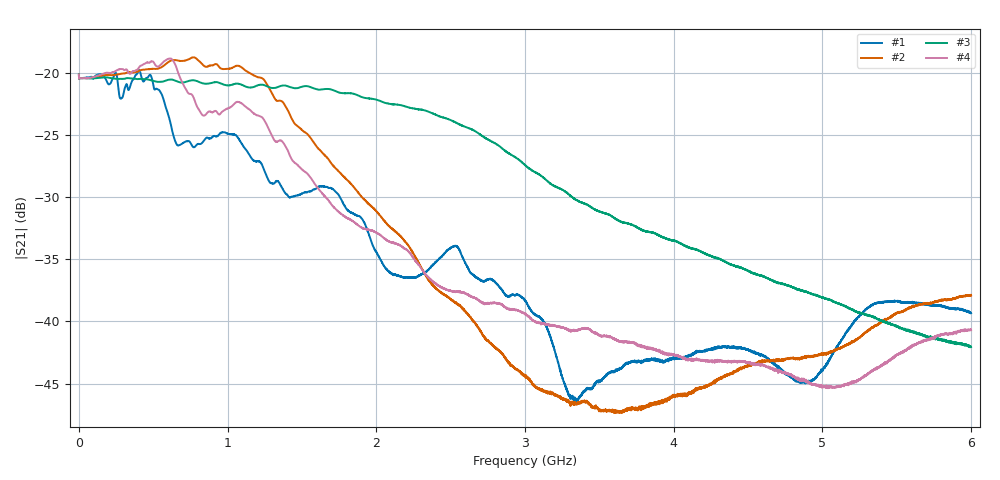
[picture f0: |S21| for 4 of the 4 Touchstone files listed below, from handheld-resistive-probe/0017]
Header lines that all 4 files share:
! Ref Plane: 0.000 mm
# MHZ S MA R  50
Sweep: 300 kHz to 6 GHz
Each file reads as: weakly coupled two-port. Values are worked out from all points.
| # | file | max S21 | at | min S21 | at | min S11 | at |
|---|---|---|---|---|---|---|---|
| 1 | flexground.s2p | -19.78 dB | 405.3 MHz | -46.4 dB | 3.344 GHz | -26.4 dB | 2.1 MHz |
| 2 | leafground.s2p | -18.75 dB | 767.7 MHz | -47.4 dB | 3.601 GHz | -26.4 dB | 900 kHz |
| 3 | tipground.s2p | -20.12 dB | 300 kHz | -42.1 dB | 5.994 GHz | -26.4 dB | 900 kHz |
| 4 | zground.s2p | -18.85 dB | 611.7 MHz | -45.4 dB | 5.039 GHz | -26.4 dB | 900 kHz |
